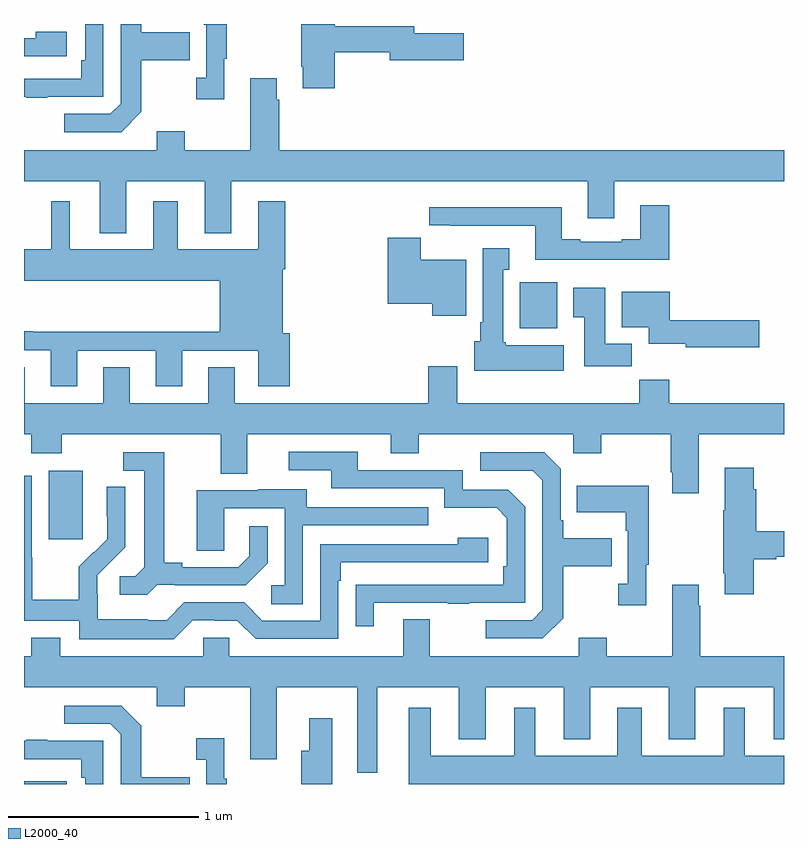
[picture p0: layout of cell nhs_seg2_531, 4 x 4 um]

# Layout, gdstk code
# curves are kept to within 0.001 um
import gdstk
lib = gdstk.Library(unit=1e-6, precision=1e-09)
def R(c, l, rs):  # rectangles x0, y0, x1, y1
    for r in rs: c.add(gdstk.rectangle(r[:2], r[2:], *l))
def P(c, l, *ps):  # polygons
    for p in ps: c.add(gdstk.Polygon(p, *l))
L2000_40 = (2000, 40)

nhs_seg2_531 = lib.new_cell('nhs_seg2_531')
R(nhs_seg2_531, L2000_40, [(137,641.8,137.224,641.814), (137.129,643.089,137.308,643.45), (139.61,644.198,139.807,644.44)])
P(nhs_seg2_531, L2000_40, [(138.635,645.652),(138.926,645.652),(138.926,645.61),(139.315,645.61),(139.315,645.752),(139.054,645.752),(139.054,645.788),(138.635,645.788),(138.635,645.8),(138.46,645.8),(138.46,645.574),(138.467,645.574),(138.467,645.462),(138.635,645.462)],
  [(137.617,645.337),(137.617,645.61),(137.873,645.61),(137.873,645.757),(137.617,645.757),(137.617,645.8),(137.508,645.8),(137.508,645.381),(137.454,645.327),(137.211,645.327),(137.211,645.231),(137.511,645.231)],
  [(138.055,645.617),(138.067,645.617),(138.067,645.8),(137.946,645.8),(137.946,645.797),(137.958,645.797),(137.958,645.518),(137.907,645.518),(137.907,645.405),(138.055,645.405)],
  [(137.123,645.417),(137.418,645.417),(137.418,645.8),(137.322,645.8),(137.322,645.61),(137.302,645.61),(137.302,645.513),(137,645.513),(137,645.417),(137.011,645.417),(137.011,645.412),(137.123,645.412)],
  [(137.224,645.76),(137.063,645.76),(137.063,645.726),(137,645.726),(137,645.63),(137.224,645.63)],
  [(137.539,644.972),(137.951,644.972),(137.951,644.699),(138.091,644.699),(138.091,644.972),(139.967,644.972),(139.967,644.778),(140.107,644.778),(140.107,644.972),(141,644.972),(141,645.136),(138.344,645.136),(138.344,645.401),(138.331,645.401),(138.331,645.514),(138.191,645.514),(138.191,645.136),(137.847,645.136),(137.847,645.235),(137.699,645.235),(137.699,645.136),(137,645.136),(137,644.972),(137.399,644.972),(137.399,644.699),(137.539,644.699)],
  [(137.281,644.079),(137.693,644.079),(137.693,643.893),(137.833,643.893),(137.833,644.079),(138.233,644.079),(138.233,643.893),(138.398,643.893),(138.398,644.172),(138.361,644.172),(138.361,644.51),(138.374,644.51),(138.374,644.866),(138.233,644.866),(138.233,644.614),(137.809,644.614),(137.809,644.866),(137.681,644.866),(137.681,644.614),(137.242,644.614),(137.242,644.866),(137.144,644.866),(137.144,644.614),(137,644.614),(137,644.45),(138.029,644.45),(138.029,644.18),(137.045,644.18),(137.045,644.183),(137,644.183),(137,644.082),(137.141,644.082),(137.141,643.893),(137.281,643.893)],
  [(140.396,644.845),(140.243,644.845),(140.243,644.668),(140.147,644.668),(140.147,644.655),(139.927,644.655),(139.927,644.668),(139.831,644.668),(139.831,644.836),(139.134,644.836),(139.134,644.741),(139.243,644.741),(139.243,644.739),(139.691,644.739),(139.691,644.558),(140.396,644.558)],
  [(139.327,644.56),(139.087,644.56),(139.087,644.676),(138.914,644.676),(138.914,644.327),(139.148,644.327),(139.148,644.264),(139.327,644.264)],
  [(139.84,644.11),(139.536,644.11),(139.536,644.124),(139.522,644.124),(139.522,644.507),(139.555,644.507),(139.555,644.62),(139.415,644.62),(139.415,644.23),(139.4,644.23),(139.4,644.13),(139.37,644.13),(139.37,643.976),(139.84,643.976)],
  [(140.198,644.116),(140.059,644.116),(140.059,644.413),(139.892,644.413),(139.892,644.257),(139.949,644.257),(139.949,643.998),(140.198,643.998)],
  [(140.869,644.24),(140.398,644.24),(140.398,644.392),(140.147,644.392),(140.147,644.204),(140.288,644.204),(140.288,644.117),(140.484,644.117),(140.484,644.098),(140.869,644.098)],
  [(138.109,643.994),(137.969,643.994),(137.969,643.804),(137.557,643.804),(137.557,643.994),(137.417,643.994),(137.417,643.804),(137.005,643.804),(137.005,643.994),(137,643.994),(137,643.64),(137.039,643.64),(137.039,643.541),(137.199,643.541),(137.199,643.64),(138.035,643.64),(138.035,643.432),(138.175,643.432),(138.175,643.64),(138.929,643.64),(138.929,643.541),(139.077,643.541),(139.077,643.64),(139.89,643.64),(139.89,643.541),(140.037,643.541),(140.037,643.64),(140.404,643.64),(140.404,643.441),(140.411,643.441),(140.411,643.329),(140.551,643.329),(140.551,643.64),(141,643.64),(141,643.804),(140.396,643.804),(140.396,643.928),(140.239,643.928),(140.239,643.804),(139.279,643.804),(139.279,643.999),(139.127,643.999),(139.127,643.804),(138.109,643.804)],
  [(138.841,642.753),(139.231,642.753),(139.231,642.748),(139.343,642.748),(139.343,642.753),(139.638,642.753),(139.638,643.26),(139.548,643.35),(139.308,643.35),(139.308,643.452),(138.757,643.452),(138.757,643.548),(138.393,643.548),(138.393,643.452),(138.617,643.452),(138.617,643.356),(139.212,643.356),(139.212,643.253),(139.489,643.253),(139.542,643.2),(139.542,642.946),(139.522,642.946),(139.522,642.849),(138.745,642.848),(138.745,642.63),(138.841,642.63)],
  [(139.837,642.673),(139.837,642.946),(140.093,642.946),(140.093,643.093),(139.837,643.093),(139.837,643.189),(139.824,643.189),(139.824,643.458),(139.737,643.545),(139.401,643.545),(139.401,643.449),(139.677,643.449),(139.728,643.398),(139.728,642.717),(139.674,642.663),(139.431,642.663),(139.431,642.567),(139.731,642.567)],
  [(137.7,642.849),(137.794,642.849),(137.794,642.846),(138.166,642.846),(138.282,642.962),(138.282,643.156),(138.185,643.156),(138.185,642.999),(138.128,642.942),(137.833,642.942),(137.833,642.965),(137.737,642.965),(137.737,643.545),(137.523,643.545),(137.523,643.449),(137.633,643.449),(137.633,642.941),(137.586,642.894),(137.505,642.894),(137.505,642.797),(137.648,642.797)],
  [(140.842,642.983),(140.958,642.983),(140.958,642.995),(141,642.995),(141,643.13),(140.855,643.13),(140.855,643.352),(140.842,643.352),(140.842,643.465),(140.687,643.465),(140.687,643.241),(140.68,643.241),(140.68,642.91),(140.687,642.91),(140.687,642.798),(140.842,642.798)],
  [(137.889,642.663),(138.005,642.663),(138.005,642.66),(138.123,642.66),(138.219,642.564),(138.654,642.564),(138.654,642.869),(138.667,642.869),(138.667,642.966),(139.444,642.966),(139.444,643.096),(139.283,643.096),(139.283,643.062),(138.558,643.062),(138.558,642.66),(138.255,642.66),(138.159,642.756),(137.844,642.756),(137.751,642.663),(137.651,642.663),(137.651,642.667),(137.388,642.667),(137.388,642.801),(137.386,642.801),(137.386,642.898),(137.532,643.046),(137.532,643.364),(137.436,643.364),(137.436,643.21),(137.438,643.21),(137.438,643.088),(137.367,643.017),(137.364,643.02),(137.287,642.943),(137.287,642.769),(137.043,642.769),(137.043,642.992),(137.04,642.992),(137.04,643.422),(137,643.422),(137,642.66),(137.292,642.66),(137.292,642.563),(137.789,642.563)],
  [(140.275,642.953),(140.287,642.953),(140.287,643.369),(139.909,643.369),(139.909,643.229),(140.166,643.229),(140.166,643.133),(140.178,643.133),(140.178,642.854),(140.127,642.854),(140.127,642.741),(140.275,642.741)],
  [(138.468,643.161),(139.127,643.161),(139.127,643.257),(138.487,643.257),(138.487,643.351),(138.233,643.351),(138.233,643.347),(137.909,643.347),(137.909,643.027),(138.054,643.027),(138.054,643.251),(138.372,643.251),(138.372,642.846),(138.3,642.846),(138.3,642.745),(138.468,642.745)],
  [(140.067,642.571),(139.919,642.571),(139.919,642.472),(139.135,642.472),(139.135,642.667),(138.995,642.667),(138.995,642.472),(138.081,642.472),(138.081,642.57),(137.943,642.57),(137.943,642.472),(137.191,642.472),(137.191,642.571),(137.039,642.571),(137.039,642.472),(137,642.472),(137,642.308),(137.699,642.308),(137.699,642.209),(137.847,642.209),(137.847,642.308),(138.191,642.308),(138.191,641.931),(138.331,641.931),(138.331,642.308),(138.755,642.308),(138.755,641.859),(138.859,641.859),(138.859,642.308),(139.289,642.308),(139.289,642.035),(139.429,642.035),(139.429,642.308),(139.841,642.308),(139.841,642.035),(139.981,642.035),(139.981,642.308),(140.393,642.308),(140.393,642.035),(140.533,642.035),(140.533,642.308),(140.945,642.308),(140.945,642.035),(141,642.035),(141,642.472),(140.559,642.472),(140.559,642.737),(140.551,642.737),(140.551,642.85),(140.411,642.85),(140.411,642.472),(140.067,642.472)],
  [(137.873,641.835),(137.617,641.835),(137.617,642.107),(137.511,642.213),(137.211,642.213),(137.211,642.117),(137.454,642.117),(137.508,642.063),(137.508,641.8),(137.873,641.8)],
  [(141,641.95),(140.794,641.95),(140.794,642.202),(140.684,642.202),(140.684,641.95),(140.251,641.95),(140.251,642.202),(140.123,642.202),(140.123,641.95),(139.69,641.95),(139.69,642.202),(139.58,642.202),(139.58,641.95),(139.141,641.95),(139.141,642.202),(139.025,642.202),(139.025,641.8),(141,641.8)],
  [(138.622,642.145),(138.5,642.145),(138.5,641.974),(138.46,641.974),(138.46,641.8),(138.622,641.8)],
  [(138.067,641.827),(138.055,641.827),(138.055,642.04),(137.907,642.04),(137.907,641.927),(137.958,641.927),(137.958,641.8),(138.067,641.8)],
  [(137.418,642.027),(137.123,642.027),(137.123,642.032),(137.011,642.032),(137.011,642.027),(137,642.027),(137,641.931),(137.302,641.931),(137.302,641.834),(137.322,641.834),(137.322,641.8),(137.418,641.8)])

lib.write_gds('nhs_seg2_531.gds')
